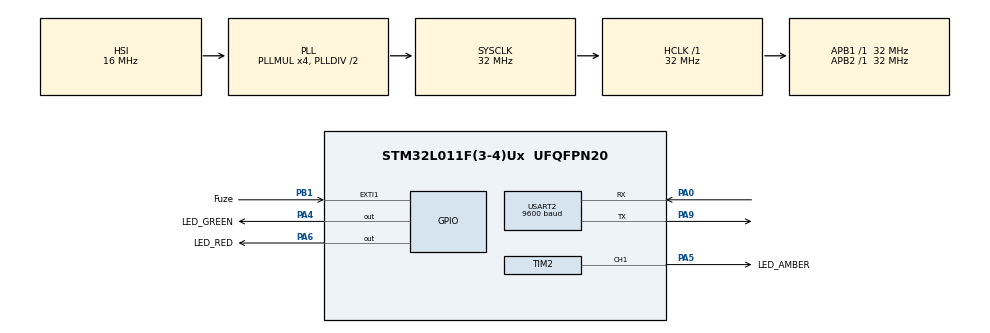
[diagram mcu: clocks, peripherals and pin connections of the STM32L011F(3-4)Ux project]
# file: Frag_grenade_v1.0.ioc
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Dma.Request0=USART2_RX
Dma.USART2_RX.0.Direction=DMA_PERIPH_TO_MEMORY
Dma.USART2_RX.0.Instance=DMA1_Channel3
Dma.USART2_RX.0.MemDataAlignment=DMA_MDATAALIGN_BYTE
Dma.USART2_RX.0.MemInc=DMA_MINC_ENABLE
Dma.USART2_RX.0.Mode=DMA_CIRCULAR
Dma.USART2_RX.0.PeriphDataAlignment=DMA_PDATAALIGN_BYTE
Dma.USART2_RX.0.PeriphInc=DMA_PINC_DISABLE
Dma.USART2_RX.0.Priority=DMA_PRIORITY_HIGH
Mcu.Family=STM32L0
Mcu.Name=STM32L011F(3-4)Ux
Mcu.Package=UFQFPN20
NVIC.DMA1_Channel2_3_IRQn=true\:0\:0\:false\:false\:true\:false\:true\:true
NVIC.EXTI0_1_IRQn=true\:2\:0\:true\:false\:true\:true\:true\:true
NVIC.TIM21_IRQn=true\:0\:0\:false\:false\:true\:true\:true\:true
NVIC.TIM2_IRQn=true\:1\:0\:true\:false\:true\:true\:true\:true
PA0-CK_IN.Mode=Asynchronous
PA0-CK_IN.Signal=USART2_RX
PA13.Mode=Serial_Wire
PA13.Signal=SYS_SWDIO
PA14.Mode=Serial_Wire
PA14.Signal=SYS_SWCLK
PA4.GPIO_Label=LED_GREEN
PA4.PinState=GPIO_PIN_RESET
PA4.Signal=GPIO_Output
PA5.GPIO_Label=LED_AMBER
PA5.Signal=S_TIM2_CH1
PA6.GPIO_Label=LED_RED
PA6.PinState=GPIO_PIN_RESET
PA6.Signal=GPIO_Output
PA9.Mode=Asynchronous
PA9.Signal=USART2_TX
PB1.GPIO_Label=Fuze
PB1.GPIO_ModeDefaultEXTI=GPIO_MODE_IT_RISING_FALLING
PB1.Signal=GPXTI1
ProjectManager.HeapSize=0x200
ProjectManager.StackSize=0x400
ProjectManager.TargetToolchain=STM32CubeIDE
RCC.AHBFreq_Value=32000000
RCC.APB1Freq_Value=32000000
RCC.APB1TimFreq_Value=32000000
RCC.APB2Freq_Value=32000000
RCC.APB2TimFreq_Value=32000000
RCC.HCLKFreq_Value=32000000
RCC.HSE_VALUE=8000000
RCC.HSI16_VALUE=16000000
RCC.HSI_VALUE=16000000
RCC.LSE_VALUE=32768
RCC.MSI_VALUE=2097000
RCC.PLLMUL=RCC_PLLMUL_4
RCC.SYSCLKFreq_VALUE=32000000
RCC.SYSCLKSource=RCC_SYSCLKSOURCE_PLLCLK
RCC.VCOOutputFreq_Value=64000000
SH.S_TIM2_CH1.0=TIM2_CH1,PWM Generation1 CH1
TIM2.AutoReloadPreload=TIM_AUTORELOAD_PRELOAD_ENABLE
TIM2.Channel-PWM\ Generation1\ CH1=TIM_CHANNEL_1
TIM2.Period=1000-1
TIM2.Prescaler=32-1
TIM21.AutoReloadPreload=TIM_AUTORELOAD_PRELOAD_ENABLE
TIM21.Period=50-1
TIM21.Prescaler=32000-1
USART2.BaudRate=9600
USART2.SwapParam=ADVFEATURE_SWAP_DISABLE
USART2.VirtualMode-Asynchronous=VM_ASYNC
VP_TIM21_VS_ClockSourceINT.Mode=Internal
VP_TIM2_VS_ClockSourceINT.Mode=Internal
board=custom

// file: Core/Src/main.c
/* USER CODE BEGIN Header */
/**
  ******************************************************************************
  * @file           : main.c
  * @brief          : Main program body
  ******************************************************************************
  * @attention
  *
  * Copyright (c) 2024 STMicroelectronics.
  * All rights reserved.
  *
  * This software is licensed under terms that can be found in the LICENSE file
  * in the root directory of this software component.
  * If no LICENSE file comes with this software, it is provided AS-IS.
  *
  ******************************************************************************
  */
/* USER CODE END Header */
#include "main.h"
#include "dma.h"
#include "tim.h"
#include "usart.h"
#include "gpio.h"

/* USER CODE BEGIN Includes */
#include "stm32l0xx_hal.h"
/* USER CODE END Includes */

/* USER CODE BEGIN PD */
// DFPlayer Mini Command Defines
#define DFPLAYER_CMD_NEXT          	0x01  	// Play next track
#define DFPLAYER_CMD_PREV          	0x02  	// Play previous track
#define DFPLAYER_CMD_PLAY_TRACK    	0x03  	// Play specific track
#define DFPLAYER_CMD_INC_VOL       	0x04  	// Increase volume
#define DFPLAYER_CMD_DEC_VOL       	0x05  	// Decrease volume
#define DFPLAYER_CMD_SET_VOL       	0x06  	// Set volume (0-30)
#define DFPLAYER_CMD_SET_EQ        	0x07 	// Set EQ mode (0-Normal, 1-Pop, 2-Rock, etc.)
#define DFPLAYER_CMD_PLAYBACK_MODE 	0x08  	// Set playback mode (single loop, repeat all, etc.)
#define DFPLAYER_CMD_RESET         	0x0C  	// Reset DFPlayer Mini
#define DFPLAYER_CMD_PLAY          	0x0D  	// Resume playback
#define DFPLAYER_CMD_PAUSE         	0x0E  	// Pause playback
#define DFPLAYER_CMD_LOOP_TRACK    	0x19  	// Loop current track

// Query Commands
#define DFPLAYER_CMD_QUERY_STATUS  	0x42  	// Query status
#define DFPLAYER_CMD_QUERY_VOL     	0x43 	// Query volume
#define DFPLAYER_CMD_QUERY_EQ      	0x44  	// Query EQ mode
#define DFPLAYER_CMD_QUERY_PLAY    	0x45  	// Query playback status
#define DFPLAYER_CMD_QUERY_FILES   	0x48  	// Query total number of files

// Advanced Playback
#define DFPLAYER_CMD_PLAY_FOLDER   	0x12  	// Play track from specific folder
#define DFPLAYER_CMD_LOOP_FOLDER   	0x17  	// Loop all tracks in a folder
#define DFPLAYER_CMD_RANDOM_PLAY   	0x18  	// Random playback

// Stop Playback
#define DFPLAYER_CMD_STOP_PLAYBACK 	0x16  	// Stop playback

#define BLINK_INTERVAL 				50 		// 50ms interval
#define CHECK_INTERVAL 				1000 	// Interval in milliseconds
#define SHORT_COOLDOWN 				1000    // 1 second in milliseconds
#define LONG_COOLDOWN  				900000  // 15 minutes in milliseconds
#define TRIGGER_TIME 				4000	// in ms,
#define TOGGLE_LIMIT				5
#define TIME_WINDOW					3000	// in ms

/* USER CODE END PD */

/* USER CODE BEGIN PV */
typedef enum {
    IDLE,
    ARMED,
    EXPLODING,
    COOLDOWN,
    SAFE
} GrenadeState;

GrenadeState currentState = IDLE;

uint32_t last_check_time = 0; 					// Tracks the last time the playback was checked
uint32_t last_blink_time = 0; 					// Tracks last blink time
uint32_t seed = 1; 								// Initialize the seed
uint8_t led_state = 0;        					// Tracks which LED is ON
uint8_t blinking = 0;
uint8_t fuze_present = 0;
uint8_t exploded = 0;
volatile uint8_t playback_status = 0xFF; 		// Default playback status
uint32_t last_query_time = 0;
uint32_t cooldownStartTime = 0;
uint32_t ArmedStartTime = 0;
uint32_t explosionStartTime = 0;
uint32_t refresh_time = 0;
uint32_t cooldown_time = LONG_COOLDOWN; 		// Default cooldown time
uint8_t toggle_count = 0;
uint32_t last_toggle_time = 0;
/* USER CODE END PV */

void SystemClock_Config(void);
/* USER CODE BEGIN PFP */
void DFPlayer_SendCommand(uint8_t, uint8_t, uint8_t);
void SetAmberPWM(uint8_t);
void PlayExplosionSound(void);
void HandleState(void);
void TurnOffAllLEDs(void);
void CheckFuzeToggles(void);
uint8_t getRandomNumber(void);
uint8_t CalculateDutyCycle(uint32_t, uint32_t);
uint32_t RoundedDivision(uint32_t, uint32_t);

/* USER CODE END PFP */

int main(void)
{

  /* MCU Configuration--------------------------------------------------------*/

  /* Reset of all peripherals, Initializes the Flash interface and the Systick. */
  HAL_Init();

  /* Configure the system clock */
  SystemClock_Config();

  /* Initialize all configured peripherals */
  MX_GPIO_Init();
  MX_DMA_Init();
  MX_USART2_UART_Init();
  MX_TIM2_Init();
  MX_TIM21_Init();
  /* USER CODE BEGIN 2 */
  HAL_TIM_PWM_Start(&htim2, TIM_CHANNEL_1);
  HAL_TIM_Base_Start_IT(&htim21);
  HAL_Delay(100);
  DFPlayer_SendCommand(DFPLAYER_CMD_RESET , 0, 0); // Reset DFPlayer Mini
  HAL_Delay(1000);
  /* USER CODE END 2 */

  /* Infinite loop */
  while (1)
	{

    /* USER CODE BEGIN 3 */
	if (HAL_GetTick() - refresh_time >= 100)
		{
		  HandleState();
		  fuze_present = HAL_GPIO_ReadPin(GPIOB, Fuze_Pin);
		  refresh_time = HAL_GetTick();
		}
	}
  /* USER CODE END 3 */
}

void SystemClock_Config(void)
{
  RCC_OscInitTypeDef RCC_OscInitStruct = {0};
  RCC_ClkInitTypeDef RCC_ClkInitStruct = {0};
  RCC_PeriphCLKInitTypeDef PeriphClkInit = {0};

  /** Configure the main internal regulator output voltage
  */
  __HAL_PWR_VOLTAGESCALING_CONFIG(PWR_REGULATOR_VOLTAGE_SCALE1);

  /** Initializes the RCC Oscillators according to the specified parameters
  * in the RCC_OscInitTypeDef structure.
  */
  RCC_OscInitStruct.OscillatorType = RCC_OSCILLATORTYPE_HSI;
  RCC_OscInitStruct.HSIState = RCC_HSI_ON;
  RCC_OscInitStruct.HSICalibrationValue = RCC_HSICALIBRATION_DEFAULT;
  RCC_OscInitStruct.PLL.PLLState = RCC_PLL_ON;
  RCC_OscInitStruct.PLL.PLLSource = RCC_PLLSOURCE_HSI;
  RCC_OscInitStruct.PLL.PLLMUL = RCC_PLLMUL_4;
  RCC_OscInitStruct.PLL.PLLDIV = RCC_PLLDIV_2;
  if (HAL_RCC_OscConfig(&RCC_OscInitStruct) != HAL_OK)
  {
    Error_Handler();
  }

  /** Initializes the CPU, AHB and APB buses clocks
  */
  RCC_ClkInitStruct.ClockType = RCC_CLOCKTYPE_HCLK|RCC_CLOCKTYPE_SYSCLK
                              |RCC_CLOCKTYPE_PCLK1|RCC_CLOCKTYPE_PCLK2;
  RCC_ClkInitStruct.SYSCLKSource = RCC_SYSCLKSOURCE_PLLCLK;
  RCC_ClkInitStruct.AHBCLKDivider = RCC_SYSCLK_DIV1;
  RCC_ClkInitStruct.APB1CLKDivider = RCC_HCLK_DIV1;
  RCC_ClkInitStruct.APB2CLKDivider = RCC_HCLK_DIV1;

  if (HAL_RCC_ClockConfig(&RCC_ClkInitStruct, FLASH_LATENCY_1) != HAL_OK)
  {
    Error_Handler();
  }
  PeriphClkInit.PeriphClockSelection = RCC_PERIPHCLK_USART2;
  PeriphClkInit.Usart2ClockSelection = RCC_USART2CLKSOURCE_PCLK1;
  if (HAL_RCCEx_PeriphCLKConfig(&PeriphClkInit) != HAL_OK)
  {
    Error_Handler();
  }
}

/* USER CODE BEGIN 4 */

void HandleState()
	{
		switch (currentState)
			{
				case IDLE: 															//default state
					TurnOffAllLEDs();
					break;

				case ARMED: 														//can be entered via interrupt on Fuze_pin
					if (fuze_present == 0)
						{
							// time recorded in EXTI triggering the ARMED state
							SetAmberPWM(CalculateDutyCycle(HAL_GetTick() - ArmedStartTime, TRIGGER_TIME)); 		// indicate getting closer to explosion
							if ((HAL_GetTick() - ArmedStartTime) >= TRIGGER_TIME) 		// 3-5 sec delay
								{
									currentState = EXPLODING;
									ArmedStartTime = 0;
								}
						} else if (fuze_present == 1) { 													// fuze is reinserted
							ArmedStartTime = 0;
							currentState = IDLE;
							blinking = 0;
							SetAmberPWM(0);
						}
					break;

				case EXPLODING:
					if (exploded == 0)
						{
							PlayExplosionSound();
							exploded = 1;
							explosionStartTime = HAL_GetTick(); // Record the start time of explosion
						}
					blinking = 1;
				    if ((HAL_GetTick() - explosionStartTime) >= 5000)
						{
							currentState = COOLDOWN;    // Transition to COOLDOWN state
							blinking = 0;               // Stop blinking LEDs
							exploded = 0;               // Reset explosion flag for future use
							cooldownStartTime = HAL_GetTick();
						}
					break;

				case COOLDOWN:
					blinking = 0;
					HAL_GPIO_WritePin(GPIOA, LED_RED_Pin, 	GPIO_PIN_RESET);
					SetAmberPWM(0);
					HAL_GPIO_WritePin(GPIOA, LED_GREEN_Pin, GPIO_PIN_SET);
					if ((HAL_GetTick() - cooldownStartTime) >= cooldown_time)
						{
							currentState = SAFE;
						}
					break;

				case SAFE:
					HAL_GPIO_WritePin(GPIOA, LED_GREEN_Pin, GPIO_PIN_RESET);
					break;
			}
	}

void DFPlayer_SendCommand(uint8_t command, uint8_t param1, uint8_t param2)
	{
		uint8_t packet[10];
		uint16_t arg = (param1 << 8) | param2;

		packet[0] = 0x7E;             // Start byte
		packet[1] = 0xFF;             // Version
		packet[2] = 0x06;             // Data length
		packet[3] = command;          // Command byte
		packet[4] = 0x00;             // No feedback
		packet[5] = (arg >> 8) & 0xFF; // Parameter high byte
		packet[6] = arg & 0xFF;       // Parameter low byte
		uint16_t checksum = 0 - (packet[1] + packet[2] + packet[3] + packet[4] + packet[5] + packet[6]);
		packet[7] = (checksum >> 8) & 0xFF; // Checksum high byte
		packet[8] = checksum & 0xFF;        // Checksum low byte
		packet[9] = 0xEF;             // End byte

		HAL_UART_Transmit(&huart2, packet, 10, HAL_MAX_DELAY);		// Send packet over UART
	}

uint8_t getRandomNumber()
	{
    	seed = (2*HAL_GetTick() * 1103515245 + 12345) & 0x7FFFFFFF; // LCG formula
    	return (uint8_t)((seed % 3) + 1); // Random number between 1 and 3
	}

void TurnOffAllLEDs()
	{
		HAL_GPIO_WritePin(LED_RED_GPIO_Port, LED_RED_Pin, GPIO_PIN_RESET);
		SetAmberPWM(0);
		HAL_GPIO_WritePin(LED_GREEN_GPIO_Port, LED_GREEN_Pin, GPIO_PIN_RESET);
	}

void PlayExplosionSound()
	{
	  DFPlayer_SendCommand(DFPLAYER_CMD_PLAY_TRACK, 0x00, getRandomNumber()); // Explosion sound
	}

void HAL_TIM_PeriodElapsedCallback(TIM_HandleTypeDef *htim)
	{
		static uint8_t led_state = 0;  // Track LED state
		if (htim->Instance == TIM21)
			{
				if (blinking == 1)
					{
						if (led_state == 0)
							{
								SetAmberPWM(100);    // Turn ON amber LED
								HAL_GPIO_WritePin(GPIOA, LED_RED_Pin, GPIO_PIN_RESET);  // Turn OFF red LED
								led_state = 1;
							} else {
								SetAmberPWM(0); // Turn OFF amber LED
								HAL_GPIO_WritePin(GPIOA, LED_RED_Pin, GPIO_PIN_SET);     // Turn ON red LED
								led_state = 0;
							}
					}
			}
	}

void EXTI1_IRQHandler(void)
	{
		CheckFuzeToggles();
		HAL_GPIO_EXTI_IRQHandler(Fuze_Pin);  // Pass the pin to HAL handler
	}

void HAL_GPIO_EXTI_Callback(uint16_t GPIO_Pin)
	{
		fuze_present = HAL_GPIO_ReadPin(GPIOB, Fuze_Pin);
		if (GPIO_Pin == Fuze_Pin) 											// Handle interrupt for the specific pin
			{
				if (currentState == IDLE)  									// Pin pulled, arm the grenade
					{
						currentState = ARMED;
						ArmedStartTime = HAL_GetTick(); 					// Start explosion timer
					} else if (currentState == SAFE) { 						// Pin reinserted, reset to IDLE
						currentState = IDLE;
					}
			}
	}

void SetAmberPWM(uint8_t percentage)
	{
		if (percentage > 100) percentage = 100;  // Cap at 100%
		uint32_t pulse = (percentage * 1000) / 100;  // Calculate pulse width
		__HAL_TIM_SET_COMPARE(&htim2, TIM_CHANNEL_1, pulse);  // Set duty cycle
	}

uint8_t CalculateDutyCycle(uint32_t elapsed_time, uint32_t time)
	{
		if (elapsed_time >= time) return 0; // Fully off when time exceeds TRIGGER_TIME
		uint32_t remaining_time = TRIGGER_TIME - elapsed_time;
		return RoundedDivision(remaining_time * 100, time); // Return duty cycle percentage
	}

uint32_t RoundedDivision(uint32_t numerator, uint32_t divisor)
	{
		return (numerator + (divisor / 2)) / divisor;
	}

void CheckFuzeToggles(void)
	{
		uint32_t current_time = HAL_GetTick();						// If time since last toggle exceeds the 3-second window, reset count
		if ((current_time - last_toggle_time) > TIME_WINDOW)
			{
				toggle_count = 0;
			}
		toggle_count++; 											// Increment toggle count and update last toggle time
		last_toggle_time = current_time;
		if (toggle_count >= TOGGLE_LIMIT) 							// Check if the toggle count has reached the limit within the time window
			{
				cooldown_time = (cooldown_time == LONG_COOLDOWN) ? SHORT_COOLDOWN : LONG_COOLDOWN;		// Toggle cooldown time between short and long durations
				toggle_count = 0; 									// Reset toggle count

			}
	}

/* USER CODE END 4 */

void Error_Handler(void)
{
  __disable_irq();
  while (1)
  {
  }
}
